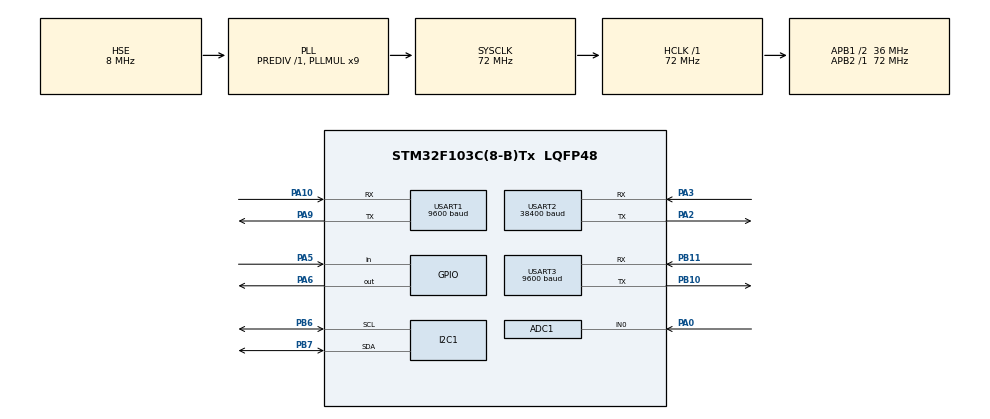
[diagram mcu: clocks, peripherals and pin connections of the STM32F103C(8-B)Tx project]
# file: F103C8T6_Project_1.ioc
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ADC1.Channel-1\#ChannelRegularConversion=ADC_CHANNEL_0
ADC1.ContinuousConvMode=ENABLE
ADC1.NbrOfConversionFlag=1
ADC1.Rank-1\#ChannelRegularConversion=1
ADC1.SamplingTime-1\#ChannelRegularConversion=ADC_SAMPLETIME_71CYCLES_5
ADC1.master=1
Dma.Request0=USART3_RX
Dma.USART3_RX.0.Direction=DMA_PERIPH_TO_MEMORY
Dma.USART3_RX.0.Instance=DMA1_Channel3
Dma.USART3_RX.0.MemDataAlignment=DMA_MDATAALIGN_BYTE
Dma.USART3_RX.0.MemInc=DMA_MINC_ENABLE
Dma.USART3_RX.0.Mode=DMA_CIRCULAR
Dma.USART3_RX.0.PeriphDataAlignment=DMA_PDATAALIGN_BYTE
Dma.USART3_RX.0.PeriphInc=DMA_PINC_DISABLE
Dma.USART3_RX.0.Priority=DMA_PRIORITY_MEDIUM
Mcu.Family=STM32F1
Mcu.Name=STM32F103C(8-B)Tx
Mcu.Package=LQFP48
NVIC.DMA1_Channel3_IRQn=true\:0\:0\:false\:false\:true\:false\:true\:true
NVIC.PriorityGroup=NVIC_PRIORITYGROUP_4
NVIC.USART1_IRQn=true\:0\:0\:false\:false\:true\:true\:true\:true
NVIC.USART2_IRQn=true\:0\:0\:false\:false\:true\:true\:true\:true
NVIC.USART3_IRQn=true\:0\:0\:false\:false\:true\:true\:true\:true
PA0-WKUP.Signal=ADCx_IN0
PA10.Mode=Asynchronous
PA10.Signal=USART1_RX
PA13.Mode=Serial_Wire
PA13.Signal=SYS_JTMS-SWDIO
PA14.Mode=Serial_Wire
PA14.Signal=SYS_JTCK-SWCLK
PA2.Mode=Asynchronous
PA2.Signal=USART2_TX
PA3.Mode=Asynchronous
PA3.Signal=USART2_RX
PA5.GPIO_PuPd=GPIO_PULLUP
PA5.Signal=GPIO_Input
PA6.GPIO_ModeDefaultOutputPP=GPIO_MODE_OUTPUT_PP
PA6.GPIO_PuPd=GPIO_NOPULL
PA6.Signal=GPIO_Output
PA9.Mode=Asynchronous
PA9.Signal=USART1_TX
PB10.Mode=Asynchronous
PB10.Signal=USART3_TX
PB11.Mode=Asynchronous
PB11.Signal=USART3_RX
PB6.Mode=I2C
PB6.Signal=I2C1_SCL
PB7.Mode=I2C
PB7.Signal=I2C1_SDA
PC14-OSC32_IN.Mode=LSE-External-Oscillator
PC14-OSC32_IN.Signal=RCC_OSC32_IN
PC15-OSC32_OUT.Mode=LSE-External-Oscillator
PC15-OSC32_OUT.Signal=RCC_OSC32_OUT
PD0-OSC_IN.Mode=HSE-External-Oscillator
PD0-OSC_IN.Signal=RCC_OSC_IN
PD1-OSC_OUT.Mode=HSE-External-Oscillator
PD1-OSC_OUT.Signal=RCC_OSC_OUT
ProjectManager.HeapSize=0x200
ProjectManager.StackSize=0x400
ProjectManager.TargetToolchain=STM32CubeIDE
RCC.ADCPresc=RCC_ADCPCLK2_DIV6
RCC.AHBFreq_Value=72000000
RCC.APB1CLKDivider=RCC_HCLK_DIV2
RCC.APB1Freq_Value=36000000
RCC.APB1TimFreq_Value=72000000
RCC.APB2Freq_Value=72000000
RCC.APB2TimFreq_Value=72000000
RCC.HCLKFreq_Value=72000000
RCC.PLLMUL=RCC_PLL_MUL9
RCC.PLLSourceVirtual=RCC_PLLSOURCE_HSE
RCC.SYSCLKFreq_VALUE=72000000
RCC.SYSCLKSource=RCC_SYSCLKSOURCE_PLLCLK
RCC.USBFreq_Value=72000000
SH.ADCx_IN0.0=ADC1_IN0,IN0
TIM2.Prescaler=71
USART1.BaudRate=9600
USART1.VirtualMode=VM_ASYNC
USART2.BaudRate=38400
USART2.VirtualMode=VM_ASYNC
USART3.BaudRate=9600
USART3.VirtualMode=VM_ASYNC
VP_TIM2_VS_ClockSourceINT.Mode=Internal
board=custom

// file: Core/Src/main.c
/* USER CODE BEGIN Header */
/**
 ******************************************************************************
 * @file           : main.c
 * @brief          : Main program body
 ******************************************************************************
 * @attention
 *
 * Copyright (c) 2025 STMicroelectronics.
 * All rights reserved.
 *
 * This software is licensed under terms that can be found in the LICENSE file
 * in the root directory of this software component.
 * If no LICENSE file comes with this software, it is provided AS-IS.
 *
 ******************************************************************************
 */
/* USER CODE END Header */
#include "main.h"

/* USER CODE BEGIN Includes */
#include "dht11.h"
#include <string.h>
#include <stdio.h>
#include <math.h>
#include <stdlib.h>
/* USER CODE END Includes */

/* USER CODE BEGIN PD */
#define DHT_PORT GPIOA
#define DHT_PIN GPIO_PIN_6

#define BUTTON_PIN GPIO_PIN_5
#define BUTTON_PORT GPIOA

#define MAX30102_ADDR      (0x57 << 1)
#define REG_MODE_CONFIG    0x09
#define REG_SPO2_CONFIG    0x0A
#define REG_LED1_PA        0x0C
#define REG_LED2_PA        0x0D
#define REG_FIFO_WR_PTR    0x02
#define REG_FIFO_RD_PTR    0x03
#define REG_FIFO_OVERFLOW  0x04
#define REG_FIFO_DATA      0x07
#define SAMPLE_SIZE 100
#define GPS_LINE_MAX 128
#define GSM_TX_BUFFER_SIZE 300
/* USER CODE END PD */

ADC_HandleTypeDef hadc1;

I2C_HandleTypeDef hi2c1;

TIM_HandleTypeDef htim2;

UART_HandleTypeDef huart1;
UART_HandleTypeDef huart2;
UART_HandleTypeDef huart3;
DMA_HandleTypeDef hdma_usart3_rx;

/* USER CODE BEGIN PV */
uint8_t dht_temp = 0;
uint8_t dht_hum = 0;
uint32_t last_dht_tick = 0;
uint8_t dht_ok = 0;
volatile char gps_line[GPS_LINE_MAX];
volatile uint16_t gps_idx = 0;
volatile uint8_t gps_ready = 0;

uint8_t temp = 0, hum = 0;
float tempC = 0;
char uart_buf[128];

uint32_t red_samples[SAMPLE_SIZE];
uint32_t ir_samples[SAMPLE_SIZE];
int sample_index = 0;

double hr = 0, spo2 = 0;
uint32_t red, ir;

char gps_rx_buffer[128];

char latitude[16] = "NA", longitude[16] = "NA";

char gsm_tx_buffer[GSM_TX_BUFFER_SIZE];

/* USER CODE END PV */

void SystemClock_Config(void);
static void MX_GPIO_Init(void);
static void MX_DMA_Init(void);
static void MX_TIM2_Init(void);
static void MX_USART1_UART_Init(void);
static void MX_ADC1_Init(void);
static void MX_USART2_UART_Init(void);
static void MX_USART3_UART_Init(void);
static void MX_I2C1_Init(void);
/* USER CODE BEGIN PFP */
// --- MAX30102 function prototypes ---
void MAX30102_Init(void);
void MAX30102_WriteReg(uint8_t reg, uint8_t value);
uint8_t MAX30102_ReadReg(uint8_t reg);
void MAX30102_ReadFIFO(uint32_t *red_led, uint32_t *ir_led);
void Calculate_SPO2_HR(uint32_t *red_buf, uint32_t *ir_buf, int size,
		double *spo2, double *hr);

/* USER CODE END PFP */

/* USER CODE BEGIN 0 */
void HAL_UART_TxCpltCallback(UART_HandleTypeDef *huart) {
	if (huart->Instance == USART3) {
		// GSM TX completed
	}
}

void uart_print(char *msg) {
	HAL_UART_Transmit(&huart1, (uint8_t*) msg, strlen(msg), HAL_MAX_DELAY);
}

float Read_LM35(void) {
	HAL_ADC_Start(&hadc1);
	HAL_ADC_PollForConversion(&hadc1, HAL_MAX_DELAY);
	uint16_t adc_val = HAL_ADC_GetValue(&hadc1);
	return ((float) adc_val * 3.3f / 4095.0f) * 100.0f;
}

void GSM_SendSMS(char *number, char *message) {
	char cmd[64];
	uint8_t resp[128];
	memset(resp, 0, sizeof(resp));

	// 1. Check module
	HAL_UART_Transmit(&huart3, (uint8_t*) "AT\r\n", 4, HAL_MAX_DELAY);
	HAL_UART_Receive(&huart3, resp, sizeof(resp), 1000);
	uart_print((char*) resp);

	// 2. Set text mode
	sprintf(cmd, "AT+CMGF=1\r\n");
	HAL_UART_Transmit(&huart3, (uint8_t*) cmd, strlen(cmd), HAL_MAX_DELAY);
	HAL_UART_Receive(&huart3, resp, sizeof(resp), 1000);
	uart_print((char*) resp);

	// 3. Send number
	sprintf(cmd, "AT+CMGS=\"%s\"\r\n", number);
	HAL_UART_Transmit(&huart3, (uint8_t*) cmd, strlen(cmd), HAL_MAX_DELAY);

	// Wait for '>' prompt from GSM (ready for message)
	memset(resp, 0, sizeof(resp));
	HAL_UART_Receive(&huart3, resp, sizeof(resp), 3000);
	uart_print((char*) resp);

	// 4. Send message body
	HAL_UART_Transmit(&huart3, (uint8_t*) message, strlen(message),
	HAL_MAX_DELAY);

	// 5. Send Ctrl+Z to finish
	uint8_t ctrl_z = 26;
	HAL_UART_Transmit(&huart3, &ctrl_z, 1, HAL_MAX_DELAY);

	// 6. Wait for final confirmation
	memset(resp, 0, sizeof(resp));
	HAL_UART_Receive(&huart3, resp, sizeof(resp), 5000);
	uart_print((char*) resp);

	uart_print("SMS attempt finished\r\n");
}

/* ---- GPS code: interrupt-driven receive (UART2 @ 38400) ----
 Behavior:
 - ISR accumulates bytes into gps_line[] and sets gps_ready when full line received.
 - Main loop checks gps_ready, prints raw NMEA to UART1 and parses GPRMC to update latitude/longitude.
 - When sending SMS, only latitude and longitude will be sent.
 */

/* parse GPRMC from gps_line (assumes gps_line is null-terminated) */
void parse_GPRMC_from_line(void) {
	// ensure gps_line contains $GPRMC or $GNRMC
	if (strstr((char*) gps_line, "$GPRMC")
			|| strstr((char*) gps_line, "$GNRMC")) {
		char buf[GPS_LINE_MAX];
		char *fields[12] = { 0 };
		int j = 0;
		strcpy(buf, (char*) gps_line);

		char *token = strtok(buf, ",");
		while (token && j < 12) {
			fields[j++] = token;
			token = strtok(NULL, ",");
		}

		if (j >= 7 && fields[3] && fields[5] && fields[2]
				&& fields[2][0] == 'A') {
			double raw_lat = atof(fields[3]);
			double raw_lon = atof(fields[5]);
			char ns = fields[4][0];
			char ew = fields[6][0];

			if (raw_lat != 0 && raw_lon != 0) {
				int lat_deg = (int) (raw_lat / 100);
				double lat_min = raw_lat - (lat_deg * 100);
				double lat_dec = lat_deg + lat_min / 60.0;

				int lon_deg = (int) (raw_lon / 100);
				double lon_min = raw_lon - (lon_deg * 100);
				double lon_dec = lon_deg + lon_min / 60.0;

				if (ns == 'S')
					lat_dec = -lat_dec;
				if (ew == 'W')
					lon_dec = -lon_dec;

				// store with 6 decimals (fits into 16 chars)
				snprintf(latitude, sizeof(latitude), "%.6f", lat_dec);
				snprintf(longitude, sizeof(longitude), "%.6f", lon_dec);
			}
		}
	}
}

/* UART2 RX complete callback (very small, re-arms receive) */
void HAL_UART_RxCpltCallback(UART_HandleTypeDef *huart) {
	if (huart->Instance == USART2) {
		char c = gps_rx_buffer[0];

		// build line without CR/LF; when newline -> mark ready
		if (c == '\n' || c == '\r') {
			if (gps_idx > 0) {
				gps_line[gps_idx] = '\0';
				gps_idx = 0;
				gps_ready = 1; // main loop will handle printing & parsing
			}
		} else {
			if (gps_idx < GPS_LINE_MAX - 1) {
				gps_line[gps_idx++] = c;
			} else {
				// overflow, reset index
				gps_idx = 0;
			}
		}

		// re-arm reception for next byte
		HAL_UART_Receive_IT(&huart2, (uint8_t*) &gps_rx_buffer[0], 1);
	}
}
void GSM_WaitForNetwork(void) {
	char resp[128];
	for (int tries = 0; tries < 10; tries++) {
		HAL_UART_Transmit(&huart3, (uint8_t*) "AT+CREG?\r\n", 10,
		HAL_MAX_DELAY);
		HAL_UART_Receive(&huart3, (uint8_t*) resp, sizeof(resp), 1000);
		if (strstr((char*) resp, ",1") || strstr((char*) resp, ",5")) {
			uart_print("GSM Registered to Network\r\n");
			return;
		}
		HAL_Delay(1000);
	}
	uart_print("GSM Network not found\r\n");
}

void Generate_BP(uint8_t *systolic, uint8_t *diastolic) {
	*systolic = 110 + (rand() % 21);   // 110–130
	*diastolic = 70 + (rand() % 21);   // 70–90
}

// Handle idle line interrupt for DMA GPS reception

/* USER CODE END 0 */

int main(void) {

	/* MCU Configuration--------------------------------------------------------*/

	/* Reset of all peripherals, Initializes the Flash interface and the Systick. */
	HAL_Init();

	/* Configure the system clock */
	SystemClock_Config();

	/* Initialize all configured peripherals */
	MX_GPIO_Init();
	MX_DMA_Init();
	MX_TIM2_Init();
	MX_USART1_UART_Init();
	MX_ADC1_Init();
	MX_USART2_UART_Init();
	MX_USART3_UART_Init();
	MX_I2C1_Init();
	/* USER CODE BEGIN 2 */

	HAL_TIM_Base_Start(&htim2);
	HAL_ADC_Start(&hadc1);
	uart_print("Initializing MAX30102...\r\n");
	MAX30102_Init();
	uart_print("MAX30102 Ready\r\n");
	// inside while(1) and before the button check
	GSM_WaitForNetwork();

	// Start GPS interrupt-based reception, 1 byte at a time
	HAL_UART_Receive_IT(&huart2, (uint8_t*) &gps_rx_buffer[0], 1);

	uart_print("STM32 Initialized\r\n");
	uart_print("GPS UART2 @ 38400, debug on UART1 @ 115200\r\n");

	/* USER CODE END 2 */

	/* Infinite loop */
	while (1) {

		/* USER CODE BEGIN 3 */

		/* ------------------- GPS parsing ------------------- */
		// Parse incoming GPS lines silently
		if (gps_ready) {
			__disable_irq();
			char tmp_line[GPS_LINE_MAX];
			strncpy(tmp_line, (char*) gps_line, GPS_LINE_MAX);
			tmp_line[GPS_LINE_MAX - 1] = '\0';
			gps_ready = 0;
			__enable_irq();

			strncpy((char*) gps_line, tmp_line, GPS_LINE_MAX);
			parse_GPRMC_from_line(); // just update latitude/longitude
		}

		/* ------------------- Button-triggered report ------------------- */
		if (HAL_GPIO_ReadPin(BUTTON_PORT, BUTTON_PIN) == GPIO_PIN_RESET) {

			/* ---------- Step 1: Read MAX30102 samples ---------- */
			uint32_t ir_avg = 0;
			uint32_t red_avg = 0;
			uint32_t finger_threshold = 900; // adjust as needed
			uint8_t bp_sys, bp_dia;
			Generate_BP(&bp_sys, &bp_dia);
			for (int i = 0; i < SAMPLE_SIZE; i++) {
				MAX30102_ReadFIFO(&red_samples[i], &ir_samples[i]);
				ir_avg += ir_samples[i];
				red_avg += red_samples[i];
				HAL_Delay(10);
			}

			ir_avg /= SAMPLE_SIZE;
			red_avg /= SAMPLE_SIZE;

			/* ---------- Step 2: Finger Detection ---------- */
			double hr_to_send, spo2_to_send;

			char msg[128];

			if (ir_avg < finger_threshold && red_avg < finger_threshold) {
				// No finger detected
				sprintf(msg,
						"⚠️ No finger detected. Place finger on sensor.\r\n");
				HAL_UART_Transmit(&huart1, (uint8_t*) msg, strlen(msg),
				HAL_MAX_DELAY);

				hr_to_send = 60.0;
				spo2_to_send = 70.0;

				sprintf(msg, "HR: %.1f bpm  SpO2: %.1f%% (Reference only)\r\n",
						hr_to_send, spo2_to_send);
				HAL_UART_Transmit(&huart1, (uint8_t*) msg, strlen(msg),
				HAL_MAX_DELAY);
			} else {
				// Finger detected, calculate real values
				Calculate_SPO2_HR(red_samples, ir_samples, SAMPLE_SIZE,
						&spo2_to_send, &hr_to_send);

				sprintf(msg,
						"Finger detected ✅\r\nHR: %.1f bpm  SpO2: %.1f%%\r\n",
						hr_to_send, spo2_to_send);
				HAL_UART_Transmit(&huart1, (uint8_t*) msg, strlen(msg),
				HAL_MAX_DELAY);
			}

			/* ---------- Step 3: Read DHT11 and LM35 ---------- */
			uint8_t status = DHT11_Read(&dht_temp, &dht_hum);
			if (status != 0) {
				dht_temp = 0;
				dht_hum = 0;
			}
			float lm35_temp = Read_LM35();

			/* ---------- Step 4: Prepare UART output ---------- */
			char out[256];
			snprintf(out, sizeof(out),
					"LAT: %s\r\nLON: %s\r\nHR: %.1f bpm  SpO2: %.1f%%\r\n"
							"BP: %d/%d mmHg\r\n"
							"DHT Temp: %dC  Hum: %d%%\r\nLM35 Temp: %.2fC\r\n",
					latitude, longitude, hr_to_send, spo2_to_send, bp_sys,
					bp_dia, dht_temp, dht_hum, lm35_temp);
			HAL_UART_Transmit(&huart1, (uint8_t*) out, strlen(out),
			HAL_MAX_DELAY);

			/* ---------- Step 5: Send SMS (always send) ---------- */
			char sms_payload[128];
			snprintf(sms_payload, sizeof(sms_payload),
					"LAT=%s LON=%s HR=%.1f SpO2=%.1f BP=%d/%d DHT_T=%d DHT_H=%d LM35_T=%.2f",
					latitude, longitude, hr_to_send, spo2_to_send, bp_sys,
					bp_dia, dht_temp, dht_hum, lm35_temp);

			GSM_SendSMS("+919985798499", sms_payload);
			HAL_Delay(100);
			GSM_SendSMS("+916005585291", sms_payload);
			HAL_Delay(100);
			GSM_SendSMS("+919677677535", sms_payload);
			HAL_Delay(100);
			GSM_SendSMS("+917780718009", sms_payload);

			/* ---------- Step 6: Debounce ---------- */
			while (HAL_GPIO_ReadPin(BUTTON_PORT, BUTTON_PIN) == GPIO_PIN_RESET)
				;
			HAL_Delay(300);

			/* USER CODE END 3 */
		}
	}
}

void SystemClock_Config(void) {
	RCC_OscInitTypeDef RCC_OscInitStruct = { 0 };
	RCC_ClkInitTypeDef RCC_ClkInitStruct = { 0 };
	RCC_PeriphCLKInitTypeDef PeriphClkInit = { 0 };

	/** Initializes the RCC Oscillators according to the specified parameters
	 * in the RCC_OscInitTypeDef structure.
	 */
	RCC_OscInitStruct.OscillatorType = RCC_OSCILLATORTYPE_HSE;
	RCC_OscInitStruct.HSEState = RCC_HSE_ON;
	RCC_OscInitStruct.HSEPredivValue = RCC_HSE_PREDIV_DIV1;
	RCC_OscInitStruct.HSIState = RCC_HSI_ON;
	RCC_OscInitStruct.PLL.PLLState = RCC_PLL_ON;
	RCC_OscInitStruct.PLL.PLLSource = RCC_PLLSOURCE_HSE;
	RCC_OscInitStruct.PLL.PLLMUL = RCC_PLL_MUL9;
	if (HAL_RCC_OscConfig(&RCC_OscInitStruct) != HAL_OK) {
		Error_Handler();
	}

	/** Initializes the CPU, AHB and APB buses clocks
	 */
	RCC_ClkInitStruct.ClockType = RCC_CLOCKTYPE_HCLK | RCC_CLOCKTYPE_SYSCLK
			| RCC_CLOCKTYPE_PCLK1 | RCC_CLOCKTYPE_PCLK2;
	RCC_ClkInitStruct.SYSCLKSource = RCC_SYSCLKSOURCE_PLLCLK;
	RCC_ClkInitStruct.AHBCLKDivider = RCC_SYSCLK_DIV1;
	RCC_ClkInitStruct.APB1CLKDivider = RCC_HCLK_DIV2;
	RCC_ClkInitStruct.APB2CLKDivider = RCC_HCLK_DIV1;

	if (HAL_RCC_ClockConfig(&RCC_ClkInitStruct, FLASH_LATENCY_2) != HAL_OK) {
		Error_Handler();
	}
	PeriphClkInit.PeriphClockSelection = RCC_PERIPHCLK_ADC;
	PeriphClkInit.AdcClockSelection = RCC_ADCPCLK2_DIV6;
	if (HAL_RCCEx_PeriphCLKConfig(&PeriphClkInit) != HAL_OK) {
		Error_Handler();
	}
}

static void MX_ADC1_Init(void) {

	ADC_ChannelConfTypeDef sConfig = { 0 };

	/** Common config
	 */
	hadc1.Instance = ADC1;
	hadc1.Init.ScanConvMode = ADC_SCAN_DISABLE;
	hadc1.Init.ContinuousConvMode = ENABLE;
	hadc1.Init.DiscontinuousConvMode = DISABLE;
	hadc1.Init.ExternalTrigConv = ADC_SOFTWARE_START;
	hadc1.Init.DataAlign = ADC_DATAALIGN_RIGHT;
	hadc1.Init.NbrOfConversion = 1;
	if (HAL_ADC_Init(&hadc1) != HAL_OK) {
		Error_Handler();
	}

	/** Configure Regular Channel
	 */
	sConfig.Channel = ADC_CHANNEL_0;
	sConfig.Rank = ADC_REGULAR_RANK_1;
	sConfig.SamplingTime = ADC_SAMPLETIME_71CYCLES_5;
	if (HAL_ADC_ConfigChannel(&hadc1, &sConfig) != HAL_OK) {
		Error_Handler();
	}

}

static void MX_I2C1_Init(void) {

	hi2c1.Instance = I2C1;
	hi2c1.Init.ClockSpeed = 100000;
	hi2c1.Init.DutyCycle = I2C_DUTYCYCLE_2;
	hi2c1.Init.OwnAddress1 = 0;
	hi2c1.Init.AddressingMode = I2C_ADDRESSINGMODE_7BIT;
	hi2c1.Init.DualAddressMode = I2C_DUALADDRESS_DISABLE;
	hi2c1.Init.OwnAddress2 = 0;
	hi2c1.Init.GeneralCallMode = I2C_GENERALCALL_DISABLE;
	hi2c1.Init.NoStretchMode = I2C_NOSTRETCH_DISABLE;
	if (HAL_I2C_Init(&hi2c1) != HAL_OK) {
		Error_Handler();
	}

}

static void MX_TIM2_Init(void) {

	TIM_ClockConfigTypeDef sClockSourceConfig = { 0 };
	TIM_MasterConfigTypeDef sMasterConfig = { 0 };

	htim2.Instance = TIM2;
	htim2.Init.Prescaler = 71;
	htim2.Init.CounterMode = TIM_COUNTERMODE_UP;
	htim2.Init.Period = 65535;
	htim2.Init.ClockDivision = TIM_CLOCKDIVISION_DIV1;
	htim2.Init.AutoReloadPreload = TIM_AUTORELOAD_PRELOAD_DISABLE;
	if (HAL_TIM_Base_Init(&htim2) != HAL_OK) {
		Error_Handler();
	}
	sClockSourceConfig.ClockSource = TIM_CLOCKSOURCE_INTERNAL;
	if (HAL_TIM_ConfigClockSource(&htim2, &sClockSourceConfig) != HAL_OK) {
		Error_Handler();
	}
	sMasterConfig.MasterOutputTrigger = TIM_TRGO_RESET;
	sMasterConfig.MasterSlaveMode = TIM_MASTERSLAVEMODE_DISABLE;
	if (HAL_TIMEx_MasterConfigSynchronization(&htim2, &sMasterConfig)
			!= HAL_OK) {
		Error_Handler();
	}

}

static void MX_USART1_UART_Init(void) {

	huart1.Instance = USART1;
	huart1.Init.BaudRate = 9600;
	huart1.Init.WordLength = UART_WORDLENGTH_8B;
	huart1.Init.StopBits = UART_STOPBITS_1;
	huart1.Init.Parity = UART_PARITY_NONE;
	huart1.Init.Mode = UART_MODE_TX_RX;
	huart1.Init.HwFlowCtl = UART_HWCONTROL_NONE;
	huart1.Init.OverSampling = UART_OVERSAMPLING_16;
	if (HAL_UART_Init(&huart1) != HAL_OK) {
		Error_Handler();
	}

}

static void MX_USART2_UART_Init(void) {

	huart2.Instance = USART2;
	huart2.Init.BaudRate = 38400;
	huart2.Init.WordLength = UART_WORDLENGTH_8B;
	huart2.Init.StopBits = UART_STOPBITS_1;
	huart2.Init.Parity = UART_PARITY_NONE;
	huart2.Init.Mode = UART_MODE_TX_RX;
	huart2.Init.HwFlowCtl = UART_HWCONTROL_NONE;
	huart2.Init.OverSampling = UART_OVERSAMPLING_16;
	if (HAL_UART_Init(&huart2) != HAL_OK) {
		Error_Handler();
	}

}

static void MX_USART3_UART_Init(void) {

	huart3.Instance = USART3;
	huart3.Init.BaudRate = 9600;
	huart3.Init.WordLength = UART_WORDLENGTH_8B;
	huart3.Init.StopBits = UART_STOPBITS_1;
	huart3.Init.Parity = UART_PARITY_NONE;
	huart3.Init.Mode = UART_MODE_TX_RX;
	huart3.Init.HwFlowCtl = UART_HWCONTROL_NONE;
	huart3.Init.OverSampling = UART_OVERSAMPLING_16;
	if (HAL_UART_Init(&huart3) != HAL_OK) {
		Error_Handler();
	}

}

static void MX_DMA_Init(void) {

	/* DMA controller clock enable */
	__HAL_RCC_DMA1_CLK_ENABLE();

	/* DMA interrupt init */
	/* DMA1_Channel3_IRQn interrupt configuration */
	HAL_NVIC_SetPriority(DMA1_Channel3_IRQn, 0, 0);
	HAL_NVIC_EnableIRQ(DMA1_Channel3_IRQn);

}

static void MX_GPIO_Init(void) {
	GPIO_InitTypeDef GPIO_InitStruct = { 0 };

	/* GPIO Ports Clock Enable */
	__HAL_RCC_GPIOC_CLK_ENABLE();
	__HAL_RCC_GPIOD_CLK_ENABLE();
	__HAL_RCC_GPIOA_CLK_ENABLE();
	__HAL_RCC_GPIOB_CLK_ENABLE();

	/*Configure GPIO pin Output Level */
	HAL_GPIO_WritePin(GPIOA, GPIO_PIN_6, GPIO_PIN_RESET);

	/*Configure GPIO pin : PA5 */
	GPIO_InitStruct.Pin = GPIO_PIN_5;
	GPIO_InitStruct.Mode = GPIO_MODE_INPUT;
	GPIO_InitStruct.Pull = GPIO_PULLUP;
	HAL_GPIO_Init(GPIOA, &GPIO_InitStruct);

	/*Configure GPIO pin : PA6 */
	GPIO_InitStruct.Pin = GPIO_PIN_6;
	GPIO_InitStruct.Mode = GPIO_MODE_OUTPUT_PP;
	GPIO_InitStruct.Pull = GPIO_NOPULL;
	GPIO_InitStruct.Speed = GPIO_SPEED_FREQ_LOW;
	HAL_GPIO_Init(GPIOA, &GPIO_InitStruct);

}

/* USER CODE BEGIN 4 */
void MAX30102_WriteReg(uint8_t reg, uint8_t value) {
	HAL_I2C_Mem_Write(&hi2c1, MAX30102_ADDR, reg, I2C_MEMADD_SIZE_8BIT, &value,
			1, HAL_MAX_DELAY);
}

uint8_t MAX30102_ReadReg(uint8_t reg) {
	uint8_t value;
	HAL_I2C_Mem_Read(&hi2c1, MAX30102_ADDR, reg, I2C_MEMADD_SIZE_8BIT, &value,
			1, HAL_MAX_DELAY);
	return value;
}

void MAX30102_ReadFIFO(uint32_t *red_led, uint32_t *ir_led) {
	uint8_t data[6];
	HAL_I2C_Mem_Read(&hi2c1, MAX30102_ADDR, REG_FIFO_DATA,
	I2C_MEMADD_SIZE_8BIT, data, 6, HAL_MAX_DELAY);

	*red_led = ((uint32_t) (data[0] & 0x03) << 16) | ((uint32_t) data[1] << 8)
			| data[2];
	*ir_led = ((uint32_t) (data[3] & 0x03) << 16) | ((uint32_t) data[4] << 8)
			| data[5];
}

void MAX30102_Init(void) {
	// Reset
	MAX30102_WriteReg(REG_MODE_CONFIG, 0x40);
	HAL_Delay(100);

	// SpO2 mode
	MAX30102_WriteReg(REG_MODE_CONFIG, 0x03);

	// SpO2 config: ADC range = 4096nA, sample rate = 100Hz, pulse width = 411us
	MAX30102_WriteReg(REG_SPO2_CONFIG, 0x27);

	// LED pulse amplitudes
	MAX30102_WriteReg(REG_LED1_PA, 0x24); // Red LED
	MAX30102_WriteReg(REG_LED2_PA, 0x24); // IR LED

	// Clear FIFO pointers
	MAX30102_WriteReg(REG_FIFO_WR_PTR, 0x00);
	MAX30102_WriteReg(REG_FIFO_RD_PTR, 0x00);
	MAX30102_WriteReg(REG_FIFO_OVERFLOW, 0x00);
}

/**
 * Simple HR and SpO2 placeholder calculation (basic RMS method)
 * Replace with proper MAX30102 algorithm for accuracy.
 */
void Calculate_SPO2_HR(uint32_t *red_buf, uint32_t *ir_buf, int size,
		double *spo2, double *hr) {
	double red_avg = 0, ir_avg = 0;
	for (int i = 0; i < size; i++) {
		red_avg += red_buf[i];
		ir_avg += ir_buf[i];
	}
	red_avg /= size;
	ir_avg /= size;

	double ratio = red_avg / ir_avg;
	*spo2 = 110.0 - (25.0 * ratio); // rough linear estimate
	if (*spo2 > 100)
		*spo2 = 99;
	if (*spo2 < 50)
		*spo2 = 50;

	// Simulated heart rate from signal variance
	double variance = 0;
	for (int i = 0; i < size; i++)
		variance += fabs((double) ir_buf[i] - ir_avg);
	variance /= size;
	*hr = 60.0 + fmod(variance / 1000.0, 40.0); // between 60–100 bpm
}

/* USER CODE END 4 */

void Error_Handler(void) {
	__disable_irq();
	while (1) {
	}
}
#ifdef USE_FULL_ASSERT
	/**
	  * @brief  Reports the name of the source file and the source line number
	  *         where the assert_param error has occurred.
	  * @param  file: pointer to the source file name
	  * @param  line: assert_param error line source number
	  * @retval None
	  */
	void assert_failed(uint8_t *file, uint32_t line)
	{
	}
	#endif /* USE_FULL_ASSERT */
